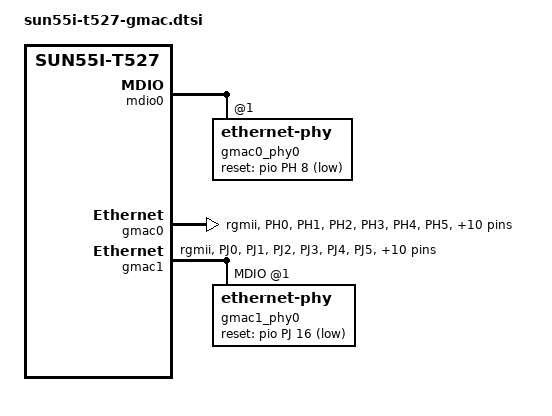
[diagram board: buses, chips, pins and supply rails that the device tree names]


//  gmac
&pio {
	gmac0_pins_default: gmac0@0 {
		pins = "PH0", "PH1", "PH2", "PH3",
			"PH4", "PH5", "PH6", "PH7",
			 "PH9", "PH10","PH13","PH14",
			  "PH15","PH16","PH17","PH18";
		drive-strength = <40>;
		function = "gmac0";
		bias-pull-up;
	};
	gmac0_pins_sleep: gmac0@1 {
		pins = "PH0", "PH1", "PH2", "PH3",
			"PH4", "PH5", "PH6", "PH7",
			 "PH9", "PH10","PH13","PH14",
			  "PH15","PH16","PH17","PH18";
		function = "gpio_in";
	};
	gmac1_pins_default: gmac1@0 {
		pins = "PJ0", "PJ1", "PJ2", "PJ3",
			"PJ4", "PJ5", "PJ6", "PJ7",
			"PJ8", "PJ9", "PJ10", "PJ11",
			"PJ12","PJ13", "PJ14", "PJ15";
		drive-strength = <40>;
		function = "gmac1";
		bias-pull-up;
	};
	gmac1_pins_sleep: gmac1@1 {
		pins = "PJ0", "PJ1", "PJ2", "PJ3",
			"PJ4", "PJ5", "PJ6", "PJ7",
			"PJ8", "PJ9", "PJ10", "PJ11",
			"PJ12","PJ13", "PJ14", "PJ15";
		function = "gpio_in";
	};
};
&mdio0 {
	status = "okay";
	gmac0_phy0: ethernet-phy@1 {
		reset-gpios = <&pio PH 8 GPIO_ACTIVE_LOW>;
	};
};
&gmac0 {
	phy-mode = "rgmii";
	pinctrl-names = "default", "sleep";
	pinctrl-0 = <&gmac0_pins_default>;
	pinctrl-1 = <&gmac0_pins_sleep>;
	sunxi,phy-clk-type = <0>;
	tx-delay = <1>;
	rx-delay = <3>;
    check = "ccccc";
	gmac3v3-supply = <&reg_cldo3>;
	status = "okay";
};
&gmac1 {
	phy-mode = "rgmii";
	pinctrl-names = "default", "sleep";
	pinctrl-0 = <&gmac1_pins_default>;
	pinctrl-1 = <&gmac1_pins_sleep>;
	aw,soc-phy25m;
	tx-delay = <1>;
	rx-delay = <1>;
	dwmac3v3-supply = <&reg_cldo3>;
	status = "okay";
	mdio1: mdio1@1 {
		gmac1_phy0: ethernet-phy@1 {
			reset-gpios = <&pio PJ 16 GPIO_ACTIVE_LOW>;
		};
	};
};
